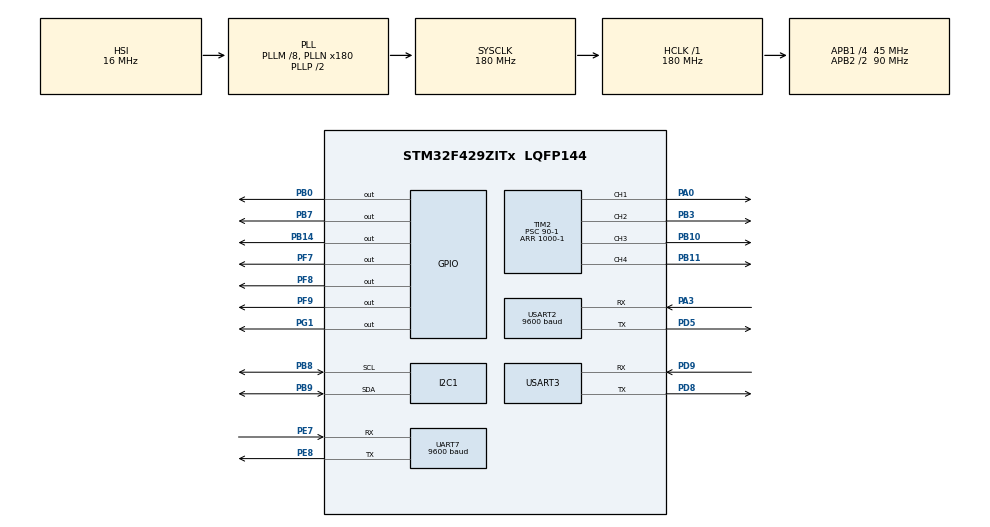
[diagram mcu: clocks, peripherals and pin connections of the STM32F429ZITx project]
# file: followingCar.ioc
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Mcu.Family=STM32F4
Mcu.Name=STM32F429ZITx
Mcu.Package=LQFP144
NVIC.PriorityGroup=NVIC_PRIORITYGROUP_4
NVIC.UART7_IRQn=true\:0\:0\:false\:false\:true\:true\:true\:true
NVIC.USART2_IRQn=true\:0\:0\:false\:false\:true\:true\:true\:true
NVIC.USART3_IRQn=true\:0\:0\:false\:false\:true\:true\:true\:true
PA0/WKUP.Signal=S_TIM2_CH1_ETR
PA13.Mode=Serial_Wire
PA13.Signal=SYS_JTMS-SWDIO
PA14.Mode=Serial_Wire
PA14.Signal=SYS_JTCK-SWCLK
PA3.Mode=Asynchronous
PA3.Signal=USART2_RX
PB0.Signal=GPIO_Output
PB10.Signal=S_TIM2_CH3
PB11.Signal=S_TIM2_CH4
PB14.Signal=GPIO_Output
PB3.Signal=S_TIM2_CH2
PB7.Signal=GPIO_Output
PB8.GPIO_Pu=GPIO_PULLUP
PB8.Mode=I2C
PB8.Signal=I2C1_SCL
PB9.GPIO_Pu=GPIO_PULLUP
PB9.Mode=I2C
PB9.Signal=I2C1_SDA
PC14/OSC32_IN.Mode=LSE-External-Oscillator
PC14/OSC32_IN.Signal=RCC_OSC32_IN
PC15/OSC32_OUT.Mode=LSE-External-Oscillator
PC15/OSC32_OUT.Signal=RCC_OSC32_OUT
PD5.Mode=Asynchronous
PD5.Signal=USART2_TX
PD8.Mode=Asynchronous
PD8.Signal=USART3_TX
PD9.Mode=Asynchronous
PD9.Signal=USART3_RX
PE7.Mode=Asynchronous
PE7.Signal=UART7_RX
PE8.Mode=Asynchronous
PE8.Signal=UART7_TX
PF7.Signal=GPIO_Output
PF8.Signal=GPIO_Output
PF9.Signal=GPIO_Output
PG1.Signal=GPIO_Output
ProjectManager.HeapSize=0x200
ProjectManager.StackSize=0x400
ProjectManager.TargetToolchain=STM32CubeIDE
RCC.48MHZClocksFreq_Value=90000000
RCC.AHBFreq_Value=180000000
RCC.APB1CLKDivider=RCC_HCLK_DIV4
RCC.APB1Freq_Value=45000000
RCC.APB1TimFreq_Value=90000000
RCC.APB2CLKDivider=RCC_HCLK_DIV2
RCC.APB2Freq_Value=90000000
RCC.APB2TimFreq_Value=180000000
RCC.CortexFreq_Value=180000000
RCC.HCLKFreq_Value=180000000
RCC.HSE_VALUE=25000000
RCC.HSI_VALUE=16000000
RCC.PLLM=8
RCC.PLLN=180
RCC.RCC_RTC_Clock_Source=RCC_RTCCLKSOURCE_LSE
RCC.RCC_RTC_Clock_SourceVirtual=RCC_RTCCLKSOURCE_LSE
RCC.SYSCLKFreq_VALUE=180000000
RCC.SYSCLKSource=RCC_SYSCLKSOURCE_PLLCLK
RCC.VCOOutputFreq_Value=360000000
SH.S_TIM2_CH1_ETR.0=TIM2_CH1,PWM Generation1 CH1
SH.S_TIM2_CH2.0=TIM2_CH2,PWM Generation2 CH2
SH.S_TIM2_CH3.0=TIM2_CH3,PWM Generation3 CH3
SH.S_TIM2_CH4.0=TIM2_CH4,PWM Generation4 CH4
TIM2.Channel-PWM\ Generation1\ CH1=TIM_CHANNEL_1
TIM2.Channel-PWM\ Generation2\ CH2=TIM_CHANNEL_2
TIM2.Channel-PWM\ Generation3\ CH3=TIM_CHANNEL_3
TIM2.Channel-PWM\ Generation4\ CH4=TIM_CHANNEL_4
TIM2.OCMode_PWM-PWM\ Generation1\ CH1=TIM_OCMODE_PWM2
TIM2.OCMode_PWM-PWM\ Generation2\ CH2=TIM_OCMODE_PWM2
TIM2.OCMode_PWM-PWM\ Generation3\ CH3=TIM_OCMODE_PWM2
TIM2.OCMode_PWM-PWM\ Generation4\ CH4=TIM_OCMODE_PWM2
TIM2.Period=1000-1
TIM2.Prescaler=90-1
TIM2.Pulse-PWM\ Generation1\ CH1=0
UART7.BaudRate=9600
UART7.VirtualMode=Asynchronous
USART2.BaudRate=9600
USART2.VirtualMode=VM_ASYNC
USART3.VirtualMode=VM_ASYNC
VP_RTC_VS_RTC_Activate.Mode=RTC_Enabled
VP_TIM2_VS_ClockSourceINT.Mode=Internal
board=custom

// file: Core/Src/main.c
/* USER CODE BEGIN Header */
/**
  ******************************************************************************
  * @file           : main.c
  * @brief          : Main program body
  ******************************************************************************
  * @attention
  *
  * Copyright (c) 2022 STMicroelectronics.
  * All rights reserved.
  *
  * This software is licensed under terms that can be found in the LICENSE file
  * in the root directory of this software component.
  * If no LICENSE file comes with this software, it is provided AS-IS.
  *
  ******************************************************************************
  */
/* USER CODE END Header */
#include "main.h"
#include "i2c.h"
#include "rtc.h"
#include "tim.h"
#include "usart.h"
#include "gpio.h"

/* USER CODE BEGIN Includes */
#include "gps.h"
#include "bluetooth.h"
#include <stdio.h>
#include "HMC5883L.h"
#include "motor.h"
#include "selfDriving.h"
/* USER CODE END Includes */

/* USER CODE BEGIN PD */
#ifdef __GNUC__
  /* With GCC, small printf (option LD Linker->Libraries->Small printf
     set to 'Yes') calls __io_putchar() */
  #define PUTCHAR_PROTOTYPE int __io_putchar(int ch)
#else
  #define PUTCHAR_PROTOTYPE int fputc(int ch, FILE *f)
#endif /* __GNUC__ */
PUTCHAR_PROTOTYPE
{
  /* Place your implementation of fputc here */
  /* e.g. write a character to the EVAL_COM1 and Loop until the end of transmission */
  HAL_UART_Transmit(&huart3, (uint8_t *)&ch, 1, 0xFFFF);

  return ch;
}
/* USER CODE END PD */

/* USER CODE BEGIN PV */
extern GPS_t GPS;
extern _DestinationGPS phoneGPS;
extern _DestinationGPS waypointGPS;

extern int controlCMD;
extern uint8_t Mode_Flag;

/* USER CODE END PV */

void SystemClock_Config(void);
/* USER CODE BEGIN PFP */
void calculateHeading(void);
/* USER CODE END PFP */

int main(void)
{

  /* MCU Configuration--------------------------------------------------------*/

  /* Reset of all peripherals, Initializes the Flash interface and the Systick. */
  HAL_Init();

  /* Configure the system clock */
  SystemClock_Config();

  /* Initialize all configured peripherals */
  MX_GPIO_Init();
  MX_RTC_Init();
  MX_USART2_UART_Init();
  MX_USART3_UART_Init();
  MX_UART7_Init();
  MX_I2C1_Init();
  MX_TIM2_Init();
  /* USER CODE BEGIN 2 */

  GPS_Init();
  BT_Init();
  Compass_Init();
  Motor_Init();

  uint32_t start_tick = HAL_GetTick();
  uint32_t current_tick;

  /* USER CODE END 2 */

  /* Infinite loop */
  /* USER CODE BEGIN WHILE */
  while (1)
  {

	  current_tick = HAL_GetTick();
	  if(current_tick - start_tick >= 70){
		  calculateHeading();
		  start_tick = current_tick;
	  }

	  if(Mode_Flag==CONTROL_MODE){
		  Move(controlCMD);

	  }else if(Mode_Flag==WAYPOINT_MODE){
		  if(waypointGPS.latitude!=0 && waypointGPS.latitude!=0){
			  SelfDriving();
		  }

	  }else if(Mode_Flag==AUTO_MODE){

	  }

    /* USER CODE END WHILE */

  }
}

void SystemClock_Config(void)
{
  RCC_OscInitTypeDef RCC_OscInitStruct = {0};
  RCC_ClkInitTypeDef RCC_ClkInitStruct = {0};

  /** Configure the main internal regulator output voltage
  */
  __HAL_RCC_PWR_CLK_ENABLE();
  __HAL_PWR_VOLTAGESCALING_CONFIG(PWR_REGULATOR_VOLTAGE_SCALE1);

  /** Initializes the RCC Oscillators according to the specified parameters
  * in the RCC_OscInitTypeDef structure.
  */
  RCC_OscInitStruct.OscillatorType = RCC_OSCILLATORTYPE_HSI|RCC_OSCILLATORTYPE_LSE;
  RCC_OscInitStruct.LSEState = RCC_LSE_ON;
  RCC_OscInitStruct.HSIState = RCC_HSI_ON;
  RCC_OscInitStruct.HSICalibrationValue = RCC_HSICALIBRATION_DEFAULT;
  RCC_OscInitStruct.PLL.PLLState = RCC_PLL_ON;
  RCC_OscInitStruct.PLL.PLLSource = RCC_PLLSOURCE_HSI;
  RCC_OscInitStruct.PLL.PLLM = 8;
  RCC_OscInitStruct.PLL.PLLN = 180;
  RCC_OscInitStruct.PLL.PLLP = RCC_PLLP_DIV2;
  RCC_OscInitStruct.PLL.PLLQ = 4;
  if (HAL_RCC_OscConfig(&RCC_OscInitStruct) != HAL_OK)
  {
    Error_Handler();
  }

  /** Activate the Over-Drive mode
  */
  if (HAL_PWREx_EnableOverDrive() != HAL_OK)
  {
    Error_Handler();
  }

  /** Initializes the CPU, AHB and APB buses clocks
  */
  RCC_ClkInitStruct.ClockType = RCC_CLOCKTYPE_HCLK|RCC_CLOCKTYPE_SYSCLK
                              |RCC_CLOCKTYPE_PCLK1|RCC_CLOCKTYPE_PCLK2;
  RCC_ClkInitStruct.SYSCLKSource = RCC_SYSCLKSOURCE_PLLCLK;
  RCC_ClkInitStruct.AHBCLKDivider = RCC_SYSCLK_DIV1;
  RCC_ClkInitStruct.APB1CLKDivider = RCC_HCLK_DIV4;
  RCC_ClkInitStruct.APB2CLKDivider = RCC_HCLK_DIV2;

  if (HAL_RCC_ClockConfig(&RCC_ClkInitStruct, FLASH_LATENCY_5) != HAL_OK)
  {
    Error_Handler();
  }
}

/* USER CODE BEGIN 4 */

void HAL_UART_RxCpltCallback(UART_HandleTypeDef *huart)
{
	if(huart == &huart2) GPS_UART_CallBack();
	if(huart->Instance == UART7) Phone_UART_CallBack();

}

/* USER CODE END 4 */

void Error_Handler(void)
{
  __disable_irq();
  while (1)
  {
  }
}
